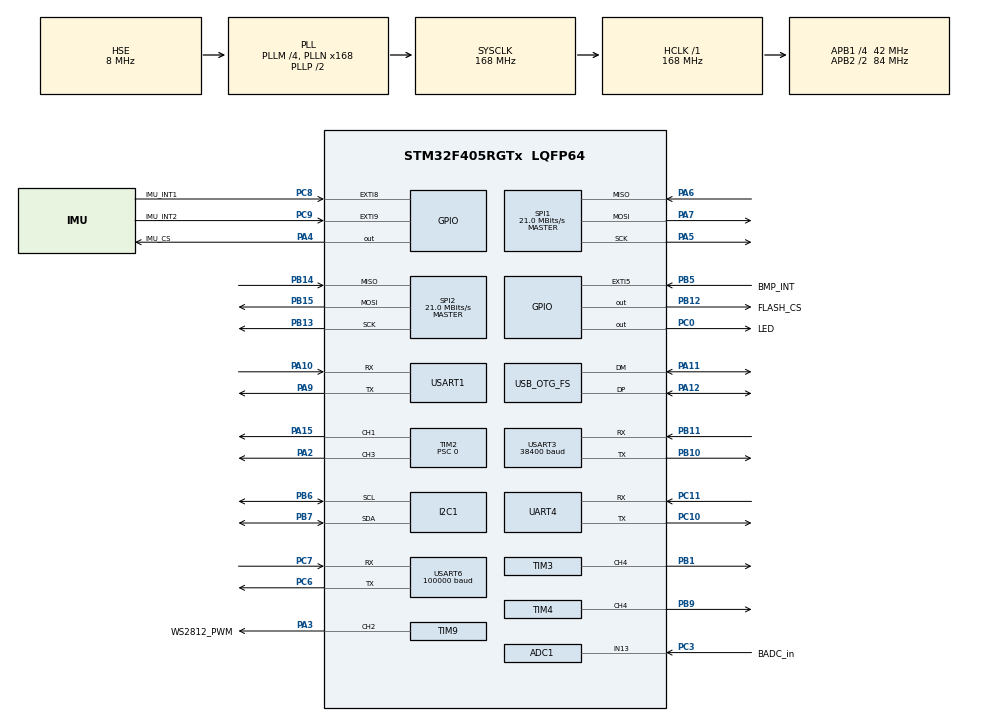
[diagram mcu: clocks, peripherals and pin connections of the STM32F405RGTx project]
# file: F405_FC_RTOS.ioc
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ADC1.Channel-2\#ChannelRegularConversion=ADC_CHANNEL_VREFINT
ADC1.Channel-3\#ChannelRegularConversion=ADC_CHANNEL_13
ADC1.DiscontinuousConvMode=ENABLE
ADC1.NbrOfConversion=2
ADC1.NbrOfConversionFlag=1
ADC1.Rank-2\#ChannelRegularConversion=1
ADC1.Rank-3\#ChannelRegularConversion=2
ADC1.SamplingTime-2\#ChannelRegularConversion=ADC_SAMPLETIME_56CYCLES
ADC1.SamplingTime-3\#ChannelRegularConversion=ADC_SAMPLETIME_56CYCLES
ADC1.ScanConvMode=ENABLE
ADC1.master=1
Dma.I2C1_RX.5.Direction=DMA_PERIPH_TO_MEMORY
Dma.I2C1_RX.5.FIFOMode=DMA_FIFOMODE_DISABLE
Dma.I2C1_RX.5.Instance=DMA1_Stream0
Dma.I2C1_RX.5.MemDataAlignment=DMA_MDATAALIGN_BYTE
Dma.I2C1_RX.5.MemInc=DMA_MINC_ENABLE
Dma.I2C1_RX.5.Mode=DMA_NORMAL
Dma.I2C1_RX.5.PeriphDataAlignment=DMA_PDATAALIGN_BYTE
Dma.I2C1_RX.5.PeriphInc=DMA_PINC_DISABLE
Dma.I2C1_RX.5.Priority=DMA_PRIORITY_MEDIUM
Dma.Request0=USART1_TX
Dma.Request1=USART3_RX
Dma.Request2=USART3_TX
Dma.Request3=USART6_RX
Dma.Request4=UART4_RX
Dma.Request5=I2C1_RX
Dma.Request6=SPI2_TX
Dma.SPI2_TX.6.Direction=DMA_MEMORY_TO_PERIPH
Dma.SPI2_TX.6.FIFOMode=DMA_FIFOMODE_DISABLE
Dma.SPI2_TX.6.Instance=DMA1_Stream4
Dma.SPI2_TX.6.MemDataAlignment=DMA_MDATAALIGN_BYTE
Dma.SPI2_TX.6.MemInc=DMA_MINC_ENABLE
Dma.SPI2_TX.6.Mode=DMA_NORMAL
Dma.SPI2_TX.6.PeriphDataAlignment=DMA_PDATAALIGN_BYTE
Dma.SPI2_TX.6.PeriphInc=DMA_PINC_DISABLE
Dma.SPI2_TX.6.Priority=DMA_PRIORITY_MEDIUM
Dma.UART4_RX.4.Direction=DMA_PERIPH_TO_MEMORY
Dma.UART4_RX.4.FIFOMode=DMA_FIFOMODE_DISABLE
Dma.UART4_RX.4.Instance=DMA1_Stream2
Dma.UART4_RX.4.MemDataAlignment=DMA_MDATAALIGN_BYTE
Dma.UART4_RX.4.MemInc=DMA_MINC_ENABLE
Dma.UART4_RX.4.Mode=DMA_NORMAL
Dma.UART4_RX.4.PeriphDataAlignment=DMA_PDATAALIGN_BYTE
Dma.UART4_RX.4.PeriphInc=DMA_PINC_DISABLE
Dma.UART4_RX.4.Priority=DMA_PRIORITY_HIGH
Dma.USART1_TX.0.Direction=DMA_MEMORY_TO_PERIPH
Dma.USART1_TX.0.FIFOMode=DMA_FIFOMODE_DISABLE
Dma.USART1_TX.0.Instance=DMA2_Stream7
Dma.USART1_TX.0.MemDataAlignment=DMA_MDATAALIGN_BYTE
Dma.USART1_TX.0.MemInc=DMA_MINC_ENABLE
Dma.USART1_TX.0.Mode=DMA_NORMAL
Dma.USART1_TX.0.PeriphDataAlignment=DMA_PDATAALIGN_BYTE
Dma.USART1_TX.0.PeriphInc=DMA_PINC_DISABLE
Dma.USART1_TX.0.Priority=DMA_PRIORITY_LOW
Dma.USART3_RX.1.Direction=DMA_PERIPH_TO_MEMORY
Dma.USART3_RX.1.FIFOMode=DMA_FIFOMODE_DISABLE
Dma.USART3_RX.1.Instance=DMA1_Stream1
Dma.USART3_RX.1.MemDataAlignment=DMA_MDATAALIGN_BYTE
Dma.USART3_RX.1.MemInc=DMA_MINC_ENABLE
Dma.USART3_RX.1.Mode=DMA_CIRCULAR
Dma.USART3_RX.1.PeriphDataAlignment=DMA_PDATAALIGN_BYTE
Dma.USART3_RX.1.PeriphInc=DMA_PINC_DISABLE
Dma.USART3_RX.1.Priority=DMA_PRIORITY_VERY_HIGH
Dma.USART3_TX.2.Direction=DMA_MEMORY_TO_PERIPH
Dma.USART3_TX.2.FIFOMode=DMA_FIFOMODE_DISABLE
Dma.USART3_TX.2.Instance=DMA1_Stream3
Dma.USART3_TX.2.MemDataAlignment=DMA_MDATAALIGN_BYTE
Dma.USART3_TX.2.MemInc=DMA_MINC_ENABLE
Dma.USART3_TX.2.Mode=DMA_NORMAL
Dma.USART3_TX.2.PeriphDataAlignment=DMA_PDATAALIGN_BYTE
Dma.USART3_TX.2.PeriphInc=DMA_PINC_DISABLE
Dma.USART3_TX.2.Priority=DMA_PRIORITY_LOW
Dma.USART6_RX.3.Direction=DMA_PERIPH_TO_MEMORY
Dma.USART6_RX.3.FIFOMode=DMA_FIFOMODE_DISABLE
Dma.USART6_RX.3.Instance=DMA2_Stream1
Dma.USART6_RX.3.MemDataAlignment=DMA_MDATAALIGN_BYTE
Dma.USART6_RX.3.MemInc=DMA_MINC_ENABLE
Dma.USART6_RX.3.Mode=DMA_NORMAL
Dma.USART6_RX.3.PeriphDataAlignment=DMA_PDATAALIGN_BYTE
Dma.USART6_RX.3.PeriphInc=DMA_PINC_DISABLE
Dma.USART6_RX.3.Priority=DMA_PRIORITY_VERY_HIGH
FATFS._MAX_SS=4096
FATFS._MIN_SS=4096
I2C1.I2C_Mode=I2C_Fast
Mcu.Family=STM32F4
Mcu.Name=STM32F405RGTx
Mcu.Package=LQFP64
NVIC.DMA1_Stream0_IRQn=true\:0\:1\:false\:false\:true\:false\:true\:true
NVIC.DMA1_Stream1_IRQn=true\:5\:0\:true\:false\:true\:false\:true\:true
NVIC.DMA1_Stream2_IRQn=true\:5\:1\:true\:false\:true\:false\:true\:true
NVIC.DMA1_Stream3_IRQn=true\:5\:1\:false\:false\:true\:false\:true\:true
NVIC.DMA1_Stream4_IRQn=true\:0\:0\:false\:false\:true\:false\:true\:true
NVIC.DMA2_Stream1_IRQn=true\:5\:0\:true\:false\:true\:false\:true\:true
NVIC.DMA2_Stream7_IRQn=true\:6\:0\:true\:false\:true\:false\:true\:true
NVIC.EXTI9_5_IRQn=true\:0\:1\:true\:false\:true\:true\:true\:true
NVIC.I2C1_EV_IRQn=true\:2\:0\:true\:false\:true\:true\:true\:true
NVIC.OTG_FS_IRQn=true\:5\:1\:true\:false\:true\:false\:true\:true
NVIC.PriorityGroup=NVIC_PRIORITYGROUP_3
NVIC.TIM1_UP_TIM10_IRQn=true\:0\:0\:true\:false\:true\:true\:true\:true
NVIC.TIM5_IRQn=true\:1\:0\:true\:false\:true\:true\:true\:true
NVIC.UART4_IRQn=true\:4\:0\:true\:false\:true\:true\:true\:true
NVIC.USART1_IRQn=true\:7\:1\:true\:false\:true\:true\:true\:true
NVIC.USART3_IRQn=true\:1\:1\:true\:false\:true\:true\:true\:true
NVIC.USART6_IRQn=true\:1\:1\:true\:false\:true\:true\:true\:true
PA10.Mode=Asynchronous
PA10.Signal=USART1_RX
PA11.Mode=Device_Only
PA11.Signal=USB_OTG_FS_DM
PA12.Mode=Device_Only
PA12.Signal=USB_OTG_FS_DP
PA13.Mode=Serial_Wire
PA13.Signal=SYS_JTMS-SWDIO
PA14.Mode=Serial_Wire
PA14.Signal=SYS_JTCK-SWCLK
PA15.GPIO_Speed=GPIO_SPEED_FREQ_VERY_HIGH
PA15.Signal=S_TIM2_CH1_ETR
PA2.GPIO_Speed=GPIO_SPEED_FREQ_VERY_HIGH
PA2.Signal=S_TIM2_CH3
PA3.GPIO_Label=WS2812_PWM
PA3.Signal=S_TIM9_CH2
PA4.GPIO_Label=IMU_CS
PA4.GPIO_PuPd=GPIO_PULLUP
PA4.PinState=GPIO_PIN_SET
PA4.Signal=GPIO_Output
PA5.Mode=Full_Duplex_Master
PA5.Signal=SPI1_SCK
PA6.Mode=Full_Duplex_Master
PA6.Signal=SPI1_MISO
PA7.Mode=Full_Duplex_Master
PA7.Signal=SPI1_MOSI
PA9.Mode=Asynchronous
PA9.Signal=USART1_TX
PB1.GPIO_Speed=GPIO_SPEED_FREQ_VERY_HIGH
PB1.Signal=S_TIM3_CH4
PB10.Mode=Asynchronous
PB10.Signal=USART3_TX
PB11.Mode=Asynchronous
PB11.Signal=USART3_RX
PB12.GPIO_Label=FLASH_CS
PB12.GPIO_PuPd=GPIO_PULLUP
PB12.PinState=GPIO_PIN_SET
PB12.Signal=GPIO_Output
PB13.Mode=Full_Duplex_Master
PB13.Signal=SPI2_SCK
PB14.Mode=Full_Duplex_Master
PB14.Signal=SPI2_MISO
PB15.Mode=Full_Duplex_Master
PB15.Signal=SPI2_MOSI
PB5.GPIO_Label=BMP_INT
PB5.Signal=GPXTI5
PB6.Mode=I2C
PB6.Signal=I2C1_SCL
PB7.Mode=I2C
PB7.Signal=I2C1_SDA
PB9.GPIO_Speed=GPIO_SPEED_FREQ_VERY_HIGH
PB9.Signal=S_TIM4_CH4
PC0.GPIO_Label=LED
PC0.GPIO_PuPd=GPIO_PULLDOWN
PC0.GPIO_Speed=GPIO_SPEED_FREQ_LOW
PC0.PinState=GPIO_PIN_SET
PC0.Signal=GPIO_Output
PC10.Mode=Asynchronous
PC10.Signal=UART4_TX
PC11.Mode=Asynchronous
PC11.Signal=UART4_RX
PC14-OSC32_IN.Mode=LSE-External-Oscillator
PC14-OSC32_IN.Signal=RCC_OSC32_IN
PC15-OSC32_OUT.Mode=LSE-External-Oscillator
PC15-OSC32_OUT.Signal=RCC_OSC32_OUT
PC3.GPIO_Label=BADC_in
PC3.Signal=ADCx_IN13
PC6.Mode=Asynchronous
PC6.Signal=USART6_TX
PC7.Mode=Asynchronous
PC7.Signal=USART6_RX
PC8.GPIO_Label=IMU_INT1
PC8.Signal=GPXTI8
PC9.GPIO_Label=IMU_INT2
PC9.Signal=GPXTI9
PH0-OSC_IN.Mode=HSE-External-Oscillator
PH0-OSC_IN.Signal=RCC_OSC_IN
PH1-OSC_OUT.Mode=HSE-External-Oscillator
PH1-OSC_OUT.Signal=RCC_OSC_OUT
ProjectManager.HeapSize=0x4000
ProjectManager.StackSize=0x8000
ProjectManager.TargetToolchain=MDK-ARM V5.32
RCC.48MHZClocksFreq_Value=48000000
RCC.AHBFreq_Value=168000000
RCC.APB1CLKDivider=RCC_HCLK_DIV4
RCC.APB1Freq_Value=42000000
RCC.APB1TimFreq_Value=84000000
RCC.APB2CLKDivider=RCC_HCLK_DIV2
RCC.APB2Freq_Value=84000000
RCC.APB2TimFreq_Value=168000000
RCC.CortexFreq_Value=168000000
RCC.HCLKFreq_Value=168000000
RCC.HSE_VALUE=8000000
RCC.HSI_VALUE=16000000
RCC.PLLM=4
RCC.PLLN=168
RCC.PLLQ=7
RCC.SYSCLKFreq_VALUE=168000000
RCC.SYSCLKSource=RCC_SYSCLKSOURCE_PLLCLK
RCC.VCOOutputFreq_Value=336000000
SH.ADCx_IN13.0=ADC1_IN13,IN13
SH.S_TIM2_CH1_ETR.0=TIM2_CH1,PWM Generation1 CH1
SH.S_TIM2_CH3.0=TIM2_CH3,PWM Generation3 CH3
SH.S_TIM3_CH4.0=TIM3_CH4,PWM Generation4 CH4
SH.S_TIM4_CH4.0=TIM4_CH4,PWM Generation4 CH4
SH.S_TIM9_CH2.0=TIM9_CH2,PWM Generation2 CH2
SPI1.BaudRatePrescaler=SPI_BAUDRATEPRESCALER_4
SPI1.CalculateBaudRate=21.0 MBits/s
SPI1.Direction=SPI_DIRECTION_2LINES
SPI1.Mode=SPI_MODE_MASTER
SPI1.VirtualType=VM_MASTER
SPI2.BaudRatePrescaler=SPI_BAUDRATEPRESCALER_2
SPI2.CalculateBaudRate=21.0 MBits/s
SPI2.Direction=SPI_DIRECTION_2LINES
SPI2.Mode=SPI_MODE_MASTER
SPI2.VirtualType=VM_MASTER
TIM1.Period=1000-1
TIM1.Prescaler=168-1
TIM2.Channel-PWM\ Generation1\ CH1=TIM_CHANNEL_1
TIM2.Channel-PWM\ Generation3\ CH3=TIM_CHANNEL_3
TIM2.OCFastMode_PWM-PWM\ Generation1\ CH1=TIM_OCFAST_ENABLE
TIM2.OCFastMode_PWM-PWM\ Generation3\ CH3=TIM_OCFAST_DISABLE
TIM2.Period=3500-1
TIM2.Prescaler=0
TIM3.Channel-PWM\ Generation4\ CH4=TIM_CHANNEL_4
TIM3.OCFastMode_PWM-PWM\ Generation4\ CH4=TIM_OCFAST_DISABLE
TIM3.Period=3500-1
TIM3.Prescaler=0
TIM4.Channel-PWM\ Generation4\ CH4=TIM_CHANNEL_4
TIM4.OCFastMode_PWM-PWM\ Generation4\ CH4=TIM_OCFAST_DISABLE
TIM4.Period=3500-1
TIM4.Prescaler=0
TIM5.Period=9975
TIM5.Prescaler=84-1
TIM9.Channel-PWM\ Generation2\ CH2=TIM_CHANNEL_2
UART4.VirtualMode=Asynchronous
USART1.VirtualMode=VM_ASYNC
USART3.BaudRate=38400
USART3.VirtualMode=VM_ASYNC
USART6.BaudRate=100000
USART6.Parity=PARITY_EVEN
USART6.StopBits=STOPBITS_2
USART6.VirtualMode=VM_ASYNC
USART6.WordLength=WORDLENGTH_9B
USB_DEVICE.CLASS_NAME_FS=MSC
USB_DEVICE.MSC_MEDIA_PACKET-MSC_FS=4096
USB_DEVICE.VirtualMode-MSC_FS=Msc
USB_DEVICE.VirtualModeFS=Msc_FS
USB_OTG_FS.VirtualMode=Device_Only
VP_ADC1_Vref_Input.Mode=IN-Vrefint
VP_FATFS_VS_Generic.Mode=User_defined
VP_TIM1_VS_ClockSourceINT.Mode=Internal
VP_TIM2_VS_ClockSourceINT.Mode=Internal
VP_TIM3_VS_ClockSourceINT.Mode=Internal
VP_TIM4_VS_ClockSourceINT.Mode=Internal
VP_TIM5_VS_ClockSourceINT.Mode=Internal
VP_TIM9_VS_ClockSourceINT.Mode=Internal
VP_USB_DEVICE_VS_USB_DEVICE_MSC_FS.Mode=MSC_FS
board=custom

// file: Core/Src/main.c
/* USER CODE BEGIN Header */
/**
  ******************************************************************************
  * @file           : main.c
  * @brief          : Main program body
  ******************************************************************************
  * @attention
  *
  * Copyright (c) 2024 STMicroelectronics.
  * All rights reserved.
  *
  * This software is licensed under terms that can be found in the LICENSE file
  * in the root directory of this software component.
  * If no LICENSE file comes with this software, it is provided AS-IS.
  *
  ******************************************************************************
  */
/* USER CODE END Header */
#include "main.h"
#include "adc.h"
#include "dma.h"
#include "fatfs.h"
#include "i2c.h"
#include "spi.h"
#include "tim.h"
#include "usart.h"
#include "usb_device.h"
#include "gpio.h"

/* USER CODE BEGIN Includes */
#include "delay.h"
#include "bmp390_task.h"
#include "icm42688.h"
#include "angle.h"
#include "control.h"
#include "W25QXX.h"
#include "flight_data_manager.h"
/* USER CODE END Includes */

/* USER CODE BEGIN PV */
remote_type my_remote;//ң�����ṹ��
aircraft_type my_aircraft;//�������ṹ��
/* USER CODE END PV */

void SystemClock_Config(void);

int main(void)
{

  /* MCU Configuration--------------------------------------------------------*/

  /* Reset of all peripherals, Initializes the Flash interface and the Systick. */
  HAL_Init();

  /* Configure the system clock */
  SystemClock_Config();

  /* USER CODE BEGIN SysInit */

	delay_init(168); /* ��ʼ���ӳٺ��� */

  /* USER CODE END SysInit */

  /* Initialize all configured peripherals */
  MX_GPIO_Init();
  MX_DMA_Init();
  MX_TIM1_Init();
  MX_USART1_UART_Init();
  MX_TIM2_Init();
  MX_ADC1_Init();
  MX_I2C1_Init();
  MX_SPI1_Init();
  MX_UART4_Init();
  MX_USART3_UART_Init();
  MX_USART6_UART_Init();
  MX_SPI2_Init();
  MX_TIM3_Init();
  MX_TIM4_Init();
  MX_TIM5_Init();
  MX_FATFS_Init();
  MX_USB_DEVICE_Init();
  MX_TIM9_Init();
  /* USER CODE BEGIN 2 */
	LED(1);//����LED
  int init_i =0;
 	while(icm42688_init())	//�����ǳ�ʼ��
	{
		printf("ICM42688 Init Failed!");
		LED_TOGGLE;
		delay_ms(100);

	}
	while(BMP390_Init()) 		//��ѹ�Ƴ�ʼ��
	{
    init_i++;
		printf("BMP390 Init Failed!");
		LED_TOGGLE;
		delay_ms(100);
    if(init_i>10)
      break;
	}
	delay_ms(100);

	IMU_Calibration();//��������ƯУ׼

	pid_control_init();
	for(uint8_t i=0;i<9;i++)//��˸LED����������ʼ�����
	{
		LED_TOGGLE;
		delay_ms(100);
	}
	HAL_UART_Receive_DMA(&huart3,uart3_rx_buff,2*REMOTE_DATA_NUM);
	HAL_UARTEx_ReceiveToIdle_DMA(&huart4,uart4_rx_buff,UART4_RXBUFFERSIZE);//UART4
	HAL_UARTEx_ReceiveToIdle_DMA(&huart6,uart6_rx_buff,UART6_RXBUFFERSIZE);//UART6
	HAL_TIM_Base_Start_IT(&htim1);
	HAL_TIM_Base_Start_IT(&htim5);
	delay_ms(100);

  /* USER CODE END 2 */

  /* Infinite loop */
  /* USER CODE BEGIN WHILE */
  while (1)
  {
		aircraft_fly_data_record();

    /* USER CODE END WHILE */

  }
}

void SystemClock_Config(void)
{
  RCC_OscInitTypeDef RCC_OscInitStruct = {0};
  RCC_ClkInitTypeDef RCC_ClkInitStruct = {0};

  /** Configure the main internal regulator output voltage
  */
  __HAL_RCC_PWR_CLK_ENABLE();
  __HAL_PWR_VOLTAGESCALING_CONFIG(PWR_REGULATOR_VOLTAGE_SCALE1);

  /** Initializes the RCC Oscillators according to the specified parameters
  * in the RCC_OscInitTypeDef structure.
  */
  RCC_OscInitStruct.OscillatorType = RCC_OSCILLATORTYPE_HSE;
  RCC_OscInitStruct.HSEState = RCC_HSE_ON;
  RCC_OscInitStruct.PLL.PLLState = RCC_PLL_ON;
  RCC_OscInitStruct.PLL.PLLSource = RCC_PLLSOURCE_HSE;
  RCC_OscInitStruct.PLL.PLLM = 4;
  RCC_OscInitStruct.PLL.PLLN = 168;
  RCC_OscInitStruct.PLL.PLLP = RCC_PLLP_DIV2;
  RCC_OscInitStruct.PLL.PLLQ = 7;
  if (HAL_RCC_OscConfig(&RCC_OscInitStruct) != HAL_OK)
  {
    Error_Handler();
  }

  /** Initializes the CPU, AHB and APB buses clocks
  */
  RCC_ClkInitStruct.ClockType = RCC_CLOCKTYPE_HCLK|RCC_CLOCKTYPE_SYSCLK
                              |RCC_CLOCKTYPE_PCLK1|RCC_CLOCKTYPE_PCLK2;
  RCC_ClkInitStruct.SYSCLKSource = RCC_SYSCLKSOURCE_PLLCLK;
  RCC_ClkInitStruct.AHBCLKDivider = RCC_SYSCLK_DIV1;
  RCC_ClkInitStruct.APB1CLKDivider = RCC_HCLK_DIV4;
  RCC_ClkInitStruct.APB2CLKDivider = RCC_HCLK_DIV2;

  if (HAL_RCC_ClockConfig(&RCC_ClkInitStruct, FLASH_LATENCY_5) != HAL_OK)
  {
    Error_Handler();
  }
}

/* USER CODE BEGIN 4 */
void error_handler_msg_log(char *file_msg, const char *func_msg)
{
    /* Start peintf error message, don't use rtos_log  */
    printf("Error file      : %s\r\n", file_msg);
    printf("Error function  : %s\r\n", func_msg);
}
/* USER CODE END 4 */

void Error_Handler(void)
{
  /* USER CODE BEGIN Error_Handler_Debug */
  /* User can add his own implementation to report the HAL error return state */
  __disable_irq();
	printf("Error_Handler\n");//�������
	error_handler_msg_log(__FILE__, __func__);//��ӡ�����ļ��ͺ�����Ϣ
  while (1)
  {

  }
  /* USER CODE END Error_Handler_Debug */
}
